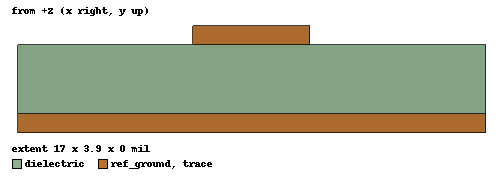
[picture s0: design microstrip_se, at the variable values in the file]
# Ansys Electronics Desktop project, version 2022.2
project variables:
  $trace_width = 4.25mil
  $trace_thickness = 0.7mil
  $trace_xpos = $trace_width/(-2)
  $dielectric_width = $trace_width*4
  $dielectric_thickness = -2.5mil
  $dielectric_xpos = $dielectric_width/(-2)
  $ref_thickness = -0.7mil
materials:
  vacuum: permittivity=1
  copper: permeability=0.999991 conductivity=58000000
  FR4_epoxy: permittivity=4.4 dielectric_loss_tangent=0.02

design microstrip_se (2D Extractor, Open, model units mil)
options: LumpedLength=1meter RiseTime=1ns DistribLengthUnits=meter Calculate_Lossy_Dielectrics
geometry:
  trace [copper] = rectangle(corner=($trace_xpos, 0mil, 0mil), x_size=$trace_width, y_size=$trace_thickness)
  dielectric [FR4_epoxy] = rectangle(corner=($dielectric_xpos, 0mil, 0mil), x_size=$dielectric_width, y_size=$dielectric_thickness)
  ref_ground [copper] = rectangle(corner=($dielectric_xpos, $dielectric_thickness, 0mil), x_size=$dielectric_width, y_size=$ref_thickness)
  ref_ground_1 = ref_ground.copy()
  trace_1 = trace.copy()
  dielectric.subtract(ref_ground_1, trace_1)
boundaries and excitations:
  trace: SignalLine Objects=trace SolveOption=SolveInside Thickness=-1000mm
  ref_ground: ReferenceGround Objects=ref_ground SolveOption=SolveInside Thickness=-1000mm
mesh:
  initial mesh: MeshMethod=AnsoftTAU
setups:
  Setup_1GHz: 2DMatrix AdaptiveFreq=1GHz SaveFields CGDataBlock{MaxPass=10 MinPass=1 MinConvPass=1 PerError=1 PerRefine=30 Included PerErrorParamConv=1} RLDataBlock{MaxPass=10 MinPass=1 MinConvPass=1 PerError=1 PerRefine=30 Included PerErrorParamConv=1}
    sweep Sweep1: 0Hz to 0Hz, 1 points; 1Hz to 1GHz, log, 10 per decade; 1GHz to 10GHz, log, 3 per decade; Type=Discrete
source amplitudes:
  trace: CG Fields 1V 0deg
  trace: RL Fields 1A 0deg
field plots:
  Mag_H1: H over trace.face(at (0, 0.35, 0)) dielectric.face(at (0, -1.25, 0)) ref_ground.face(at (0, -2.85, 0)) on Setup_1GHz : LastAdaptive at Freq=1GHz Phase=0deg
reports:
  Characteristic Impedance Plot 1: mag(Z0(trace,trace)) vs Freq on Setup_1GHz : Sweep1; markers MX1 at x=1e+09
  EpsEff Plot 1: EpsEffModal(Mode1) vs Freq on Setup_1GHz : Sweep1; markers MX1 at x=1e+09
  Attenuation: -AttenModal(Mode1) vs Freq on Setup_1GHz : Sweep1
